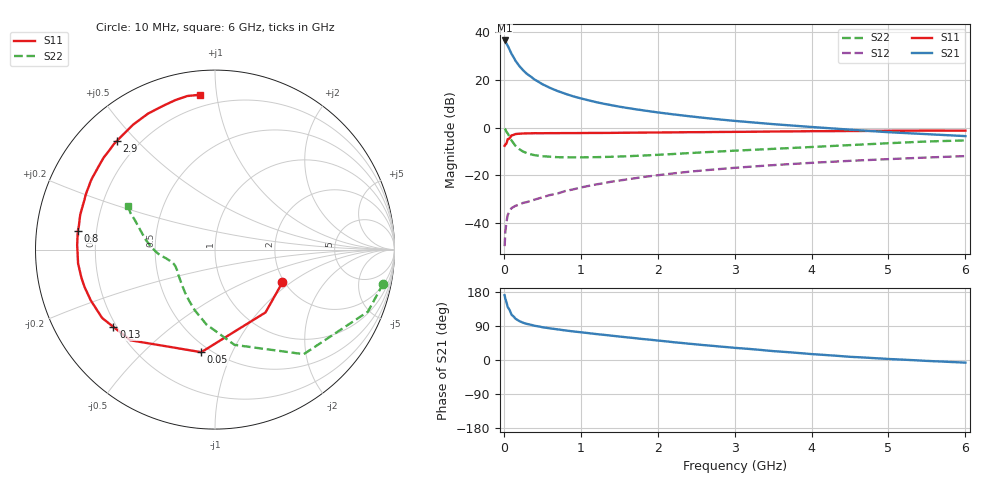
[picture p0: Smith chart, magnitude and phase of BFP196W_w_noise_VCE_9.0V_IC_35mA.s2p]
! Infineon Technologies  Discrete & RF Semiconductors
! BFP196W
! VCE =  9.0 V,  IC =  35 mA
! Common Emitter S-Parameters:  Jan 2017
# GHz  S  MA  R  50
!  f  S11  S21  S12  S22
! GHz  MAG  ANG  MAG  ANG  MAG  ANG  MAG  ANG
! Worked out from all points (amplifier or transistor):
!   77 points, 10 MHz to 6 GHz, reference 50 ohm
!   highest |S21| = 36.5 dB at 10 MHz (marker M1)
!   |S21| within 3 dB of that: start of sweep to 62.47 MHz
!   unconditionally stable (mu >= 1): 838.1 MHz to 3.251 GHz
!   at 130 MHz: K = 0.33, MSG = 31.2 dB, |S12| = -33.1 dB
!   at 2.2 GHz: K = 1.05, MAG = 11.1 dB, |S12| = -19.2 dB
!   at 6 GHz: K = 0.91, MSG = 4.2 dB, |S12| = -11.9 dB
!   lowest NFmin = 1.19 dB at 450 MHz
!   S11 on the Smith chart (normalised r, x): 10 MHz: 1.95, -0.86; 50 MHz: 0.45, -0.77; 130 MHz: 0.19, -0.33; 800 MHz: 0.13, +0.07; 2.9 GHz: 0.12, +0.44; 6 GHz: 0.13, +0.90
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0.01  0.4177 -26.0  67.13 170.9  0.0033 79.9  0.9561 -11.4
0.02  0.4492 -51.2  64.19 161.4  0.0068 75.9  0.9195 -22.1
0.05  0.5767 -97.6  52.25 139.8  0.0148 56.5  0.7641 -49.7
0.1  0.6909 -133.0  35.16 119.4  0.0207 44.1  0.542 -78.4
0.13  0.7111 -142.7  29.22 114.1  0.0221 40.6  0.463 -88.1
0.15  0.7353 -148.8  25.46 109.2  0.0231 38.5  0.42 -96.5
0.2  0.7476 -157.7  19.66 102.8  0.0244 38.0  0.3561 -108.5
0.25  0.7561 -164.0  15.96 98.3  0.0266 38.7  0.3163 -117.7
0.3  0.7606 -168.0  13.39 95.2  0.0277 41.0  0.2924 -124.8
0.4  0.7667 -174.2  10.18 90.3  0.0311 44.1  0.2653 -134.9
0.5  0.7659 -178.5  8.156 86.6  0.0348 48.4  0.2526 -141.8
0.6  0.7684 178.2  6.824 83.5  0.0389 50.2  0.2466 -146.8
0.7  0.7688 175.3  5.849 80.8  0.0419 53.3  0.2411 -150.3
0.8  0.7714 172.4  5.129 78.0  0.0472 55.5  0.2401 -152.8
1.1  0.7756 165.4  3.745 70.9  0.0603 57.9  0.2407 -158.4
1.5  0.782 157.3  2.759 62.0  0.0781 58.4  0.2491 -163.5
2.1  0.7951 145.7  1.995 49.4  0.1055 56.2  0.2755 -169.6
2.9  0.8154 132.3  1.438 34.0  0.1401 50.9  0.3237 -177.0
3.1  0.8191 129.3  1.346 30.6  0.1483 49.4  0.3358 -179.1
4.1  0.8452 114.9  1.009 14.3  0.1872 41.8  0.4012 169.9
5.1  0.8629 103.9  0.789 1.8  0.223 34.2  0.4809 159.3
6  0.8667 95.5  0.666 -7.0  0.254 27.4  0.5411 153.5
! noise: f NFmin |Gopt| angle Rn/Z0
0.45  1.19  0.46  180  0.06
0.9  1.33  0.53  -174  0.06
1.9  2.17  0.68  -151  0.13
2.4  2.57  0.73  -145  0.23
